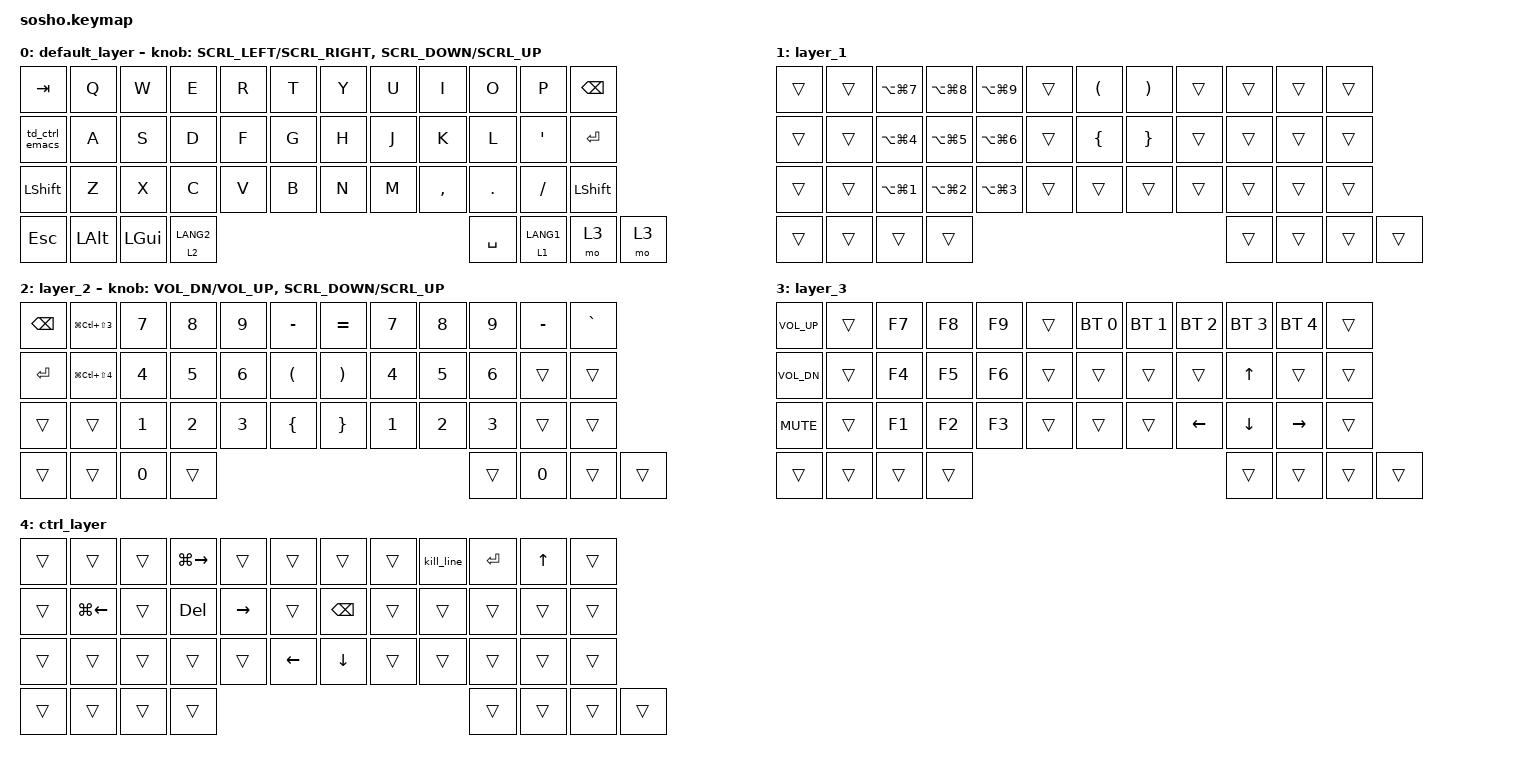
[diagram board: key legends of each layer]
//スクロール量の調整(デフォルト150)
#define ZMK_POINTING_DEFAULT_SCRL_VAL 150

#include <behaviors.dtsi>
#include <dt-bindings/zmk/bt.h>
#include <dt-bindings/zmk/keys.h>
#include <dt-bindings/zmk/pointing.h>
#include <dt-bindings/zmk/outputs.h>

/ {
	behaviors {
        ec_ms_l: ec_ms_h {
            compatible = "zmk,behavior-encoder-mouse-scroll";
            #sensor-binding-cells = <2>;
        };
        ec_ms_r: ec_ms_v {
            compatible = "zmk,behavior-encoder-mouse-scroll";
            #sensor-binding-cells = <2>;
        };
    };

    // ========== マクロ定義 ==========
    macros {
        // macOS 行末まで削除（Emacs Ctrl+K 相当）
        // Cmd+Shift+→ で行末まで選択 → Backspace で削除
        kill_line: kill_line {
            compatible = "zmk,behavior-macro";
            #binding-cells = <0>;
            bindings
                = <&macro_press &kp LSHFT &kp LGUI>
                , <&macro_tap &kp RIGHT>
                , <&macro_release &kp LSHFT &kp LGUI>
                , <&macro_tap &kp BSPC>;
        };
    };

    // ========== Tap-Dance 定義 ==========
    // 1回タップ/長押し → Ctrl
    // ダブルタップして押し続ける → Emacs レイヤー（レイヤー4）を一時有効化
    td_ctrl_emacs: tap_dance_ctrl_emacs {
        compatible = "zmk,behavior-tap-dance";
        #binding-cells = <0>;
        tapping-term-ms = <250>;
        bindings = <&kp LCTRL>, <&mo 4>;
    };
};

//スクロールの調整
&msc {
    time-to-max-speed-ms = <0>;   // 即座に最大速度（加速なし）
    acceleration-exponent = <0>;   // 加速なし
};

/{
    combos {
        compatible = "zmk,combos";
		//左クリックのコンボ 19はJのキー 20はKのキーに相当します。
	    combo_LCLK {
            timeout-ms = <50>;
            key-positions = <19 20>;
            bindings = <&mkp LCLK>;
        };

		//右クリックのコンボ 20 K 21 L
        combo_RCLK {
            timeout-ms = <50>;
            key-positions = <20 21>;
            bindings = <&mkp RCLK>;
        };

		//ホイールクリックのコンボ 19 J 21 L
	    combo_MCLK {
            timeout-ms = <90>;
            key-positions = <19 21>;
            bindings = <&mkp MCLK>;
        };

        // ===== 左手側マウスクリック =====
        // 左クリック S+D (14+15)
        combo_LCLK_L {
            timeout-ms = <50>;
            key-positions = <14 15>;
            bindings = <&mkp LCLK>;
        };

        // 右クリック D+F (15+16)
        combo_RCLK_L {
            timeout-ms = <50>;
            key-positions = <15 16>;
            bindings = <&mkp RCLK>;
        };

        // ホイールクリック S+F (14+16)
        combo_MCLK_L {
            timeout-ms = <90>;
            key-positions = <14 16>;
            bindings = <&mkp MCLK>;
        };

    };
};

/{
keymap {
    compatible = "zmk,keymap";

    default_layer {
        bindings = <
            &kp TAB         &kp Q   &kp W  &kp E  &kp R  &kp T      &kp Y  &kp U  &kp I      &kp O    &kp P     &kp BSPC
            &td_ctrl_emacs  &kp A   &kp S  &kp D  &kp F  &kp G      &kp H  &kp J  &kp K      &kp L    &kp SQT   &kp ENTER
            &kp LSHFT       &kp Z   &kp X  &kp C  &kp V  &kp B      &kp N  &kp M  &kp COMMA  &kp DOT  &kp SLASH &kp LSHFT
            &kp ESC         &kp LALT              &kp LGUI  &lt 2 LANG2  &kp SPACE  &lt 1 LANG1              &mo 3     &mo 3
        >;
        sensor-bindings = <&ec_ms_l SCRL_LEFT SCRL_RIGHT &ec_ms_r SCRL_DOWN SCRL_UP>;
    };
	
    layer_1 {
        bindings = <
            &trans  &trans  &kp LA(LG(N7))  &kp LA(LG(N8))  &kp LA(LG(N9))  &trans      &kp LPAR  &kp RPAR  &trans  &trans  &trans  &trans
            &trans  &trans  &kp LA(LG(N4))  &kp LA(LG(N5))  &kp LA(LG(N6))  &trans      &kp LBRC  &kp RBRC  &trans  &trans  &trans  &trans
            &trans  &trans  &kp LA(LG(N1))  &kp LA(LG(N2))  &kp LA(LG(N3))  &trans      &trans    &trans    &trans  &trans  &trans  &trans
            &trans  &trans                                  &trans          &trans      &trans    &trans                    &trans  &trans
        >;
    };

    layer_2 {
        bindings = <
            &kp BSPC  &kp LG(LC(LS(N3)))  &kp N7  &kp N8  &kp N9  &kp MINUS     &kp EQUAL  &kp N7  &kp N8  &kp N9  &kp MINUS  &kp GRAVE
            &kp RET   &kp LG(LC(LS(N4)))  &kp N4  &kp N5  &kp N6  &kp LPAR      &kp RPAR   &kp N4  &kp N5  &kp N6  &trans     &trans
            &trans    &trans              &kp N1  &kp N2  &kp N3  &kp LBRC      &kp RBRC   &kp N1  &kp N2  &kp N3  &trans     &trans
            &trans    &trans                              &kp N0  &trans        &trans     &kp N0                  &trans     &trans
        >;
		//レイヤー2のときだけ、左手のエンコーダを回すとボリュームの上下ができるようになっています。
		sensor-bindings = <&inc_dec_kp C_VOL_DN C_VOL_UP &ec_ms_r SCRL_DOWN SCRL_UP>;
    };

    layer_3 {
        bindings = <
            &kp C_VOL_UP  &trans  &kp F7  &kp F8  &kp F9  &trans      &bt BT_SEL 0  &bt BT_SEL 1  &bt BT_SEL 2  &bt BT_SEL 3  &bt BT_SEL 4  &trans
            &kp C_VOL_DN  &trans  &kp F4  &kp F5  &kp F6  &trans      &trans        &trans        &trans        &kp UP        &trans        &trans
            &kp C_MUTE    &trans  &kp F1  &kp F2  &kp F3  &trans      &trans        &trans        &kp LEFT      &kp DOWN      &kp RIGHT     &trans
            &trans        &trans                  &trans  &trans      &trans        &trans                                    &trans        &trans
        >;
    };

    ctrl_layer {
        bindings = <
            &trans  &trans          &trans  &kp LG(RIGHT)  &trans  &trans      &trans  &trans  &kill_line  &kp RET  &kp UP  &trans
            &trans  &kp LG(LEFT)    &trans  &kp DEL        &kp RIGHT &trans    &kp BSPC &trans &trans      &trans   &trans  &trans
            &trans  &trans          &trans  &trans         &trans  &kp LEFT    &kp DOWN &trans &trans      &trans   &trans  &trans
            &trans  &trans                                 &trans  &trans      &trans  &trans                       &trans  &trans
        >;
    };

    scroll {
        status = "reserved";
    };

    extra2 {
        status = "reserved";
    };
};
};
